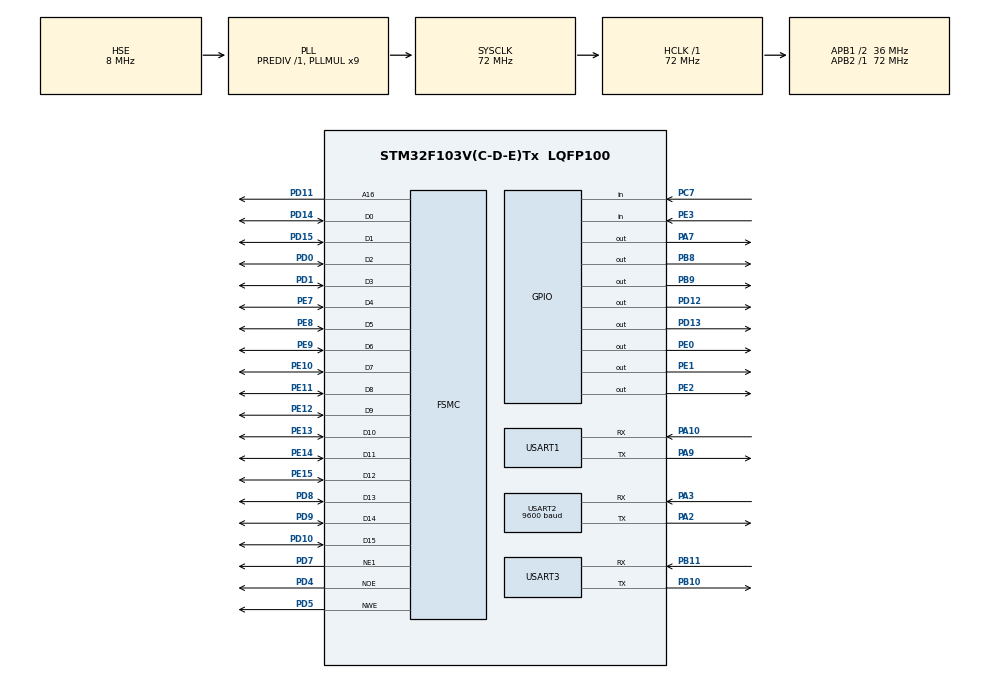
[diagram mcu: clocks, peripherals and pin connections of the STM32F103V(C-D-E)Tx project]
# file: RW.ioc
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Dma.Request0=USART3_RX
Dma.USART3_RX.0.Direction=DMA_PERIPH_TO_MEMORY
Dma.USART3_RX.0.Instance=DMA1_Channel3
Dma.USART3_RX.0.MemDataAlignment=DMA_MDATAALIGN_BYTE
Dma.USART3_RX.0.MemInc=DMA_MINC_ENABLE
Dma.USART3_RX.0.Mode=DMA_NORMAL
Dma.USART3_RX.0.PeriphDataAlignment=DMA_PDATAALIGN_BYTE
Dma.USART3_RX.0.PeriphInc=DMA_PINC_DISABLE
Dma.USART3_RX.0.Priority=DMA_PRIORITY_LOW
Mcu.Family=STM32F1
Mcu.Name=STM32F103V(C-D-E)Tx
Mcu.Package=LQFP100
NVIC.DMA1_Channel3_IRQn=true\:0\:0\:false\:false\:true\:false\:true\:true
NVIC.PriorityGroup=NVIC_PRIORITYGROUP_4
NVIC.USART1_IRQn=true\:2\:0\:true\:false\:true\:true\:true\:true
NVIC.USART3_IRQn=true\:2\:0\:true\:false\:true\:true\:true\:true
OSC_IN.Mode=HSE-External-Oscillator
OSC_IN.Signal=RCC_OSC_IN
OSC_OUT.Mode=HSE-External-Oscillator
OSC_OUT.Signal=RCC_OSC_OUT
PA10.Mode=Asynchronous
PA10.Signal=USART1_RX
PA13.Mode=Serial_Wire
PA13.Signal=SYS_JTMS-SWDIO
PA14.Mode=Serial_Wire
PA14.Signal=SYS_JTCK-SWCLK
PA2.Mode=Asynchronous
PA2.Signal=USART2_TX
PA3.Mode=Asynchronous
PA3.Signal=USART2_RX
PA7.GPIO_Speed=GPIO_SPEED_FREQ_HIGH
PA7.Signal=GPIO_Output
PA9.Mode=Asynchronous
PA9.Signal=USART1_TX
PB10.Mode=Asynchronous
PB10.Signal=USART3_TX
PB11.Mode=Asynchronous
PB11.Signal=USART3_RX
PB8.GPIO_Speed=GPIO_SPEED_FREQ_HIGH
PB8.Signal=GPIO_Output
PB9.GPIO_Speed=GPIO_SPEED_FREQ_HIGH
PB9.Signal=GPIO_Output
PC14-OSC32_IN.Mode=LSE-External-Oscillator
PC14-OSC32_IN.Signal=RCC_OSC32_IN
PC15-OSC32_OUT.Mode=LSE-External-Oscillator
PC15-OSC32_OUT.Signal=RCC_OSC32_OUT
PC7.Signal=GPIO_Input
PD0.Mode=16b-d1
PD0.Signal=FSMC_D2
PD1.Mode=16b-d1
PD1.Signal=FSMC_D3
PD10.Mode=16b-d1
PD10.Signal=FSMC_D15
PD11.Mode=A16_1
PD11.Signal=FSMC_A16
PD12.GPIO_Speed=GPIO_SPEED_FREQ_HIGH
PD12.Signal=GPIO_Output
PD13.GPIO_Speed=GPIO_SPEED_FREQ_HIGH
PD13.Signal=GPIO_Output
PD14.Mode=16b-d1
PD14.Signal=FSMC_D0
PD15.Mode=16b-d1
PD15.Signal=FSMC_D1
PD4.Mode=Lcd1
PD4.Signal=FSMC_NOE
PD5.Mode=Lcd1
PD5.Signal=FSMC_NWE
PD7.Mode=NorPsramChipSelect1_1
PD7.Signal=FSMC_NE1
PD8.Mode=16b-d1
PD8.Signal=FSMC_D13
PD9.Mode=16b-d1
PD9.Signal=FSMC_D14
PE0.GPIO_Speed=GPIO_SPEED_FREQ_HIGH
PE0.Signal=GPIO_Output
PE1.GPIO_Speed=GPIO_SPEED_FREQ_HIGH
PE1.Signal=GPIO_Output
PE10.Mode=16b-d1
PE10.Signal=FSMC_D7
PE11.Mode=16b-d1
PE11.Signal=FSMC_D8
PE12.Mode=16b-d1
PE12.Signal=FSMC_D9
PE13.Mode=16b-d1
PE13.Signal=FSMC_D10
PE14.Mode=16b-d1
PE14.Signal=FSMC_D11
PE15.Mode=16b-d1
PE15.Signal=FSMC_D12
PE2.GPIO_Speed=GPIO_SPEED_FREQ_HIGH
PE2.Signal=GPIO_Output
PE3.Signal=GPIO_Input
PE7.Mode=16b-d1
PE7.Signal=FSMC_D4
PE8.Mode=16b-d1
PE8.Signal=FSMC_D5
PE9.Mode=16b-d1
PE9.Signal=FSMC_D6
ProjectManager.HeapSize=0x1000
ProjectManager.StackSize=0x2000
ProjectManager.TargetToolchain=CMake
RCC.AHBFreq_Value=72000000
RCC.APB1CLKDivider=RCC_HCLK_DIV2
RCC.APB1Freq_Value=36000000
RCC.APB1TimFreq_Value=72000000
RCC.APB2Freq_Value=72000000
RCC.APB2TimFreq_Value=72000000
RCC.HCLKFreq_Value=72000000
RCC.PLLMUL=RCC_PLL_MUL9
RCC.PLLSourceVirtual=RCC_PLLSOURCE_HSE
RCC.RTCClockSelection=RCC_RTCCLKSOURCE_LSE
RCC.SYSCLKFreq_VALUE=72000000
RCC.SYSCLKSource=RCC_SYSCLKSOURCE_PLLCLK
RCC.USBFreq_Value=72000000
TIM1.Prescaler=71
USART1.VirtualMode=VM_ASYNC
USART2.BaudRate=9600
USART2.VirtualMode=VM_ASYNC
USART3.VirtualMode=VM_ASYNC
VP_RTC_VS_RTC_Activate.Mode=RTC_Enabled
VP_TIM1_VS_ClockSourceINT.Mode=Internal
board=custom

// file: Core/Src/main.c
/* USER CODE BEGIN Header */
/**
  ******************************************************************************
  * @file           : main.c
  * @brief          : Main program body
  ******************************************************************************
  * @attention
  *
  * Copyright (c) 2026 STMicroelectronics.
  * All rights reserved.
  *
  * This software is licensed under terms that can be found in the LICENSE file
  * in the root directory of this software component.
  * If no LICENSE file comes with this software, it is provided AS-IS.
  *
  ******************************************************************************
  */
/* USER CODE END Header */
#include "main.h"

/* USER CODE BEGIN Includes */
#include <stdio.h>
#include "lcd.h"
#include "lvgl.h"
#include "lv_port_disp.h"
#include "lv_port_indev.h"
#include "dht11.h"
#include "gui_guider.h"
#include "events_init.h"
#include "dfplayer_music.h"
#include "weather_manager.h"
#include "rtc_manager.h"

/* USER CODE END Includes */

 RTC_HandleTypeDef hrtc;

TIM_HandleTypeDef htim1;

UART_HandleTypeDef huart1;
UART_HandleTypeDef huart2;
UART_HandleTypeDef huart3;
DMA_HandleTypeDef hdma_usart3_rx;

SRAM_HandleTypeDef hsram1;

/* USER CODE BEGIN PV */
lv_ui guider_ui;

lv_chart_series_t * temp_series;
lv_chart_series_t * humi_series;

// Sensor data structure
DHT11_Data my_sensor_data;
uint32_t sensor_timer = 0;
/* USER CODE END PV */

void SystemClock_Config(void);
static void MX_GPIO_Init(void);
static void MX_DMA_Init(void);
static void MX_FSMC_Init(void);
static void MX_TIM1_Init(void);
static void MX_RTC_Init(void);
static void MX_USART2_UART_Init(void);
static void MX_USART1_UART_Init(void);
static void MX_USART3_UART_Init(void);

int main(void)
{

  /* MCU Configuration--------------------------------------------------------*/

  /* Reset of all peripherals, Initializes the Flash interface and the Systick. */
  HAL_Init();

  /* Configure the system clock */
  SystemClock_Config();

  /* Initialize all configured peripherals */
  MX_GPIO_Init();
  MX_DMA_Init();
  MX_FSMC_Init();
  MX_TIM1_Init();
  MX_RTC_Init();
  MX_USART2_UART_Init();
  MX_USART1_UART_Init();
  MX_USART3_UART_Init();
  /* USER CODE BEGIN 2 */
  LCD_INIT();
  HAL_TIM_Base_Start(&htim1);

  /* Initialize LVGL */
  DFPlayer_Init();
  lv_init();
  lv_port_disp_init();
  lv_port_indev_init();

  setup_ui(&guider_ui);
  events_init(&guider_ui);

  // Initialize weather manager with WiFi credentials
  Weather_Manager_SetCredentials("Simon", "88888888");
  Weather_Manager_SetLocation("Hong+Kong");

  /* USER CODE END 2 */

  /* Infinite loop */
  while (1)
  {

    /* USER CODE BEGIN 3 */

	  static uint32_t timer = 0;
	  if (HAL_GetTick() - timer >= 1000) {
		  RTC_Manager_Task(&guider_ui);
		  timer = HAL_GetTick();
	  }

    // Call weather manager task (non-blocking, only triggers on request)
    Weather_Manager_Task(&guider_ui);

	  if (HAL_GetTick() - sensor_timer >= 2000)
		{
			sensor_timer = HAL_GetTick();

			if (lv_scr_act() == guider_ui.dht11_screen &&
			    guider_ui.dht11_screen_temp_chart && lv_obj_is_valid(guider_ui.dht11_screen_temp_chart) &&
			    guider_ui.dht11_screen_humi_chart && lv_obj_is_valid(guider_ui.dht11_screen_humi_chart))
			{
				// 2. Refresh the series pointers.
				// If the screen was deleted/recreated, we must re-add the series.
				temp_series = lv_chart_get_series_next(guider_ui.dht11_screen_temp_chart, NULL);
				humi_series = lv_chart_get_series_next(guider_ui.dht11_screen_humi_chart, NULL);

				// 3. If the chart has no series (because it was just recreated), add them back
				if (temp_series == NULL) {
					temp_series = lv_chart_add_series(guider_ui.dht11_screen_temp_chart, lv_palette_main(LV_PALETTE_RED), LV_CHART_AXIS_PRIMARY_Y);
				}
				if (humi_series == NULL) {
					humi_series = lv_chart_add_series(guider_ui.dht11_screen_humi_chart, lv_palette_main(LV_PALETTE_BLUE), LV_CHART_AXIS_PRIMARY_Y);
				}

				// 4. Now read the sensor and update
				if (DHT11_Read(&my_sensor_data))
				{
					lv_chart_set_point_count(guider_ui.dht11_screen_temp_chart, 10);
					lv_chart_set_point_count(guider_ui.dht11_screen_humi_chart, 10);
					char buf[16];
					sprintf(buf, "%d.%d C", my_sensor_data.temperature_integral, my_sensor_data.temperature_decimal);
					if (guider_ui.dht11_screen_temp_num && lv_obj_is_valid(guider_ui.dht11_screen_temp_num)) {
						lv_label_set_text(guider_ui.dht11_screen_temp_num, buf);
					}
					if (temp_series) {
						lv_chart_set_next_value(guider_ui.dht11_screen_temp_chart, temp_series, my_sensor_data.temperature_integral);
					}
					sprintf(buf, "%d.%d %%", my_sensor_data.humidity_integral, my_sensor_data.humidity_decimal);
					if (guider_ui.dht11_screen_humi_num && lv_obj_is_valid(guider_ui.dht11_screen_humi_num)) {
						lv_label_set_text(guider_ui.dht11_screen_humi_num, buf);
					}
					if (humi_series) {
						lv_chart_set_next_value(guider_ui.dht11_screen_humi_chart, humi_series, my_sensor_data.humidity_integral);
					}
				}else{
					if (guider_ui.dht11_screen_temp_num && lv_obj_is_valid(guider_ui.dht11_screen_temp_num)) {
						lv_label_set_text(guider_ui.dht11_screen_temp_num, "connecting");
					}
					if (guider_ui.dht11_screen_humi_num && lv_obj_is_valid(guider_ui.dht11_screen_humi_num)) {
						lv_label_set_text(guider_ui.dht11_screen_humi_num, "connecting");
					}
				}
				uint32_t seconds = HAL_GetTick() / 1000;
				if (guider_ui.dht11_screen_Timer && lv_obj_is_valid(guider_ui.dht11_screen_Timer)) {
					lv_label_set_text_fmt(guider_ui.dht11_screen_Timer, "Last Update: %ds ago", seconds);
				}
			}
		}

    DFPlayer_Manager_Task(&guider_ui);

	  lv_tick_inc(5);
	  lv_timer_handler();
	  HAL_Delay(5);

  }
  /* USER CODE END 3 */
}

void SystemClock_Config(void)
{
  RCC_OscInitTypeDef RCC_OscInitStruct = {0};
  RCC_ClkInitTypeDef RCC_ClkInitStruct = {0};
  RCC_PeriphCLKInitTypeDef PeriphClkInit = {0};

  /** Initializes the RCC Oscillators according to the specified parameters
  * in the RCC_OscInitTypeDef structure.
  */
  RCC_OscInitStruct.OscillatorType = RCC_OSCILLATORTYPE_HSE|RCC_OSCILLATORTYPE_LSE;
  RCC_OscInitStruct.HSEState = RCC_HSE_ON;
  RCC_OscInitStruct.HSEPredivValue = RCC_HSE_PREDIV_DIV1;
  RCC_OscInitStruct.LSEState = RCC_LSE_ON;
  RCC_OscInitStruct.HSIState = RCC_HSI_ON;
  RCC_OscInitStruct.PLL.PLLState = RCC_PLL_ON;
  RCC_OscInitStruct.PLL.PLLSource = RCC_PLLSOURCE_HSE;
  RCC_OscInitStruct.PLL.PLLMUL = RCC_PLL_MUL9;
  if (HAL_RCC_OscConfig(&RCC_OscInitStruct) != HAL_OK)
  {
    Error_Handler();
  }

  /** Initializes the CPU, AHB and APB buses clocks
  */
  RCC_ClkInitStruct.ClockType = RCC_CLOCKTYPE_HCLK|RCC_CLOCKTYPE_SYSCLK
                              |RCC_CLOCKTYPE_PCLK1|RCC_CLOCKTYPE_PCLK2;
  RCC_ClkInitStruct.SYSCLKSource = RCC_SYSCLKSOURCE_PLLCLK;
  RCC_ClkInitStruct.AHBCLKDivider = RCC_SYSCLK_DIV1;
  RCC_ClkInitStruct.APB1CLKDivider = RCC_HCLK_DIV2;
  RCC_ClkInitStruct.APB2CLKDivider = RCC_HCLK_DIV1;

  if (HAL_RCC_ClockConfig(&RCC_ClkInitStruct, FLASH_LATENCY_2) != HAL_OK)
  {
    Error_Handler();
  }
  PeriphClkInit.PeriphClockSelection = RCC_PERIPHCLK_RTC;
  PeriphClkInit.RTCClockSelection = RCC_RTCCLKSOURCE_LSE;
  if (HAL_RCCEx_PeriphCLKConfig(&PeriphClkInit) != HAL_OK)
  {
    Error_Handler();
  }
}

static void MX_RTC_Init(void)
{

  /* USER CODE BEGIN RTC_Init 0 */
  hrtc.Instance = RTC;
  hrtc.Init.AsynchPrediv = RTC_AUTO_1_SECOND;
  hrtc.Init.OutPut = RTC_OUTPUTSOURCE_ALARM;
  RW_RTC_Init();
  return;
  /* USER CODE END RTC_Init 0 */

  /** Initialize RTC Only
  */
  hrtc.Instance = RTC;
  hrtc.Init.AsynchPrediv = RTC_AUTO_1_SECOND;
  hrtc.Init.OutPut = RTC_OUTPUTSOURCE_ALARM;
  if (HAL_RTC_Init(&hrtc) != HAL_OK)
  {
    Error_Handler();
  }

}

static void MX_TIM1_Init(void)
{

  TIM_ClockConfigTypeDef sClockSourceConfig = {0};
  TIM_MasterConfigTypeDef sMasterConfig = {0};

  htim1.Instance = TIM1;
  htim1.Init.Prescaler = 71;
  htim1.Init.CounterMode = TIM_COUNTERMODE_UP;
  htim1.Init.Period = 65535;
  htim1.Init.ClockDivision = TIM_CLOCKDIVISION_DIV1;
  htim1.Init.RepetitionCounter = 0;
  htim1.Init.AutoReloadPreload = TIM_AUTORELOAD_PRELOAD_DISABLE;
  if (HAL_TIM_Base_Init(&htim1) != HAL_OK)
  {
    Error_Handler();
  }
  sClockSourceConfig.ClockSource = TIM_CLOCKSOURCE_INTERNAL;
  if (HAL_TIM_ConfigClockSource(&htim1, &sClockSourceConfig) != HAL_OK)
  {
    Error_Handler();
  }
  sMasterConfig.MasterOutputTrigger = TIM_TRGO_RESET;
  sMasterConfig.MasterSlaveMode = TIM_MASTERSLAVEMODE_DISABLE;
  if (HAL_TIMEx_MasterConfigSynchronization(&htim1, &sMasterConfig) != HAL_OK)
  {
    Error_Handler();
  }

}

static void MX_USART1_UART_Init(void)
{

  huart1.Instance = USART1;
  huart1.Init.BaudRate = 115200;
  huart1.Init.WordLength = UART_WORDLENGTH_8B;
  huart1.Init.StopBits = UART_STOPBITS_1;
  huart1.Init.Parity = UART_PARITY_NONE;
  huart1.Init.Mode = UART_MODE_TX_RX;
  huart1.Init.HwFlowCtl = UART_HWCONTROL_NONE;
  huart1.Init.OverSampling = UART_OVERSAMPLING_16;
  if (HAL_UART_Init(&huart1) != HAL_OK)
  {
    Error_Handler();
  }

}

static void MX_USART2_UART_Init(void)
{

  huart2.Instance = USART2;
  huart2.Init.BaudRate = 9600;
  huart2.Init.WordLength = UART_WORDLENGTH_8B;
  huart2.Init.StopBits = UART_STOPBITS_1;
  huart2.Init.Parity = UART_PARITY_NONE;
  huart2.Init.Mode = UART_MODE_TX_RX;
  huart2.Init.HwFlowCtl = UART_HWCONTROL_NONE;
  huart2.Init.OverSampling = UART_OVERSAMPLING_16;
  if (HAL_UART_Init(&huart2) != HAL_OK)
  {
    Error_Handler();
  }

}

static void MX_USART3_UART_Init(void)
{

  huart3.Instance = USART3;
  huart3.Init.BaudRate = 115200;
  huart3.Init.WordLength = UART_WORDLENGTH_8B;
  huart3.Init.StopBits = UART_STOPBITS_1;
  huart3.Init.Parity = UART_PARITY_NONE;
  huart3.Init.Mode = UART_MODE_TX_RX;
  huart3.Init.HwFlowCtl = UART_HWCONTROL_NONE;
  huart3.Init.OverSampling = UART_OVERSAMPLING_16;
  if (HAL_UART_Init(&huart3) != HAL_OK)
  {
    Error_Handler();
  }

}

static void MX_DMA_Init(void)
{

  /* DMA controller clock enable */
  __HAL_RCC_DMA1_CLK_ENABLE();

  /* DMA interrupt init */
  /* DMA1_Channel3_IRQn interrupt configuration */
  HAL_NVIC_SetPriority(DMA1_Channel3_IRQn, 0, 0);
  HAL_NVIC_EnableIRQ(DMA1_Channel3_IRQn);

}

static void MX_GPIO_Init(void)
{
  GPIO_InitTypeDef GPIO_InitStruct = {0};

  /* GPIO Ports Clock Enable */
  __HAL_RCC_GPIOE_CLK_ENABLE();
  __HAL_RCC_GPIOC_CLK_ENABLE();
  __HAL_RCC_GPIOA_CLK_ENABLE();
  __HAL_RCC_GPIOB_CLK_ENABLE();
  __HAL_RCC_GPIOD_CLK_ENABLE();

  /*Configure GPIO pin Output Level */
  HAL_GPIO_WritePin(GPIOE, GPIO_PIN_2|GPIO_PIN_0|GPIO_PIN_1, GPIO_PIN_RESET);

  /*Configure GPIO pin Output Level */
  HAL_GPIO_WritePin(GPIOA, GPIO_PIN_7, GPIO_PIN_RESET);

  /*Configure GPIO pin Output Level */
  HAL_GPIO_WritePin(GPIOD, GPIO_PIN_12|GPIO_PIN_13, GPIO_PIN_RESET);

  /*Configure GPIO pin Output Level */
  HAL_GPIO_WritePin(GPIOB, GPIO_PIN_8|GPIO_PIN_9, GPIO_PIN_RESET);

  /*Configure GPIO pins : PE2 PE0 PE1 */
  GPIO_InitStruct.Pin = GPIO_PIN_2|GPIO_PIN_0|GPIO_PIN_1;
  GPIO_InitStruct.Mode = GPIO_MODE_OUTPUT_PP;
  GPIO_InitStruct.Pull = GPIO_NOPULL;
  GPIO_InitStruct.Speed = GPIO_SPEED_FREQ_HIGH;
  HAL_GPIO_Init(GPIOE, &GPIO_InitStruct);

  /*Configure GPIO pin : PE3 */
  GPIO_InitStruct.Pin = GPIO_PIN_3;
  GPIO_InitStruct.Mode = GPIO_MODE_INPUT;
  GPIO_InitStruct.Pull = GPIO_NOPULL;
  HAL_GPIO_Init(GPIOE, &GPIO_InitStruct);

  /*Configure GPIO pin : PA7 */
  GPIO_InitStruct.Pin = GPIO_PIN_7;
  GPIO_InitStruct.Mode = GPIO_MODE_OUTPUT_PP;
  GPIO_InitStruct.Pull = GPIO_NOPULL;
  GPIO_InitStruct.Speed = GPIO_SPEED_FREQ_HIGH;
  HAL_GPIO_Init(GPIOA, &GPIO_InitStruct);

  /*Configure GPIO pins : PD12 PD13 */
  GPIO_InitStruct.Pin = GPIO_PIN_12|GPIO_PIN_13;
  GPIO_InitStruct.Mode = GPIO_MODE_OUTPUT_PP;
  GPIO_InitStruct.Pull = GPIO_NOPULL;
  GPIO_InitStruct.Speed = GPIO_SPEED_FREQ_HIGH;
  HAL_GPIO_Init(GPIOD, &GPIO_InitStruct);

  /*Configure GPIO pin : PC7 */
  GPIO_InitStruct.Pin = GPIO_PIN_7;
  GPIO_InitStruct.Mode = GPIO_MODE_INPUT;
  GPIO_InitStruct.Pull = GPIO_NOPULL;
  HAL_GPIO_Init(GPIOC, &GPIO_InitStruct);

  /*Configure GPIO pins : PB8 PB9 */
  GPIO_InitStruct.Pin = GPIO_PIN_8|GPIO_PIN_9;
  GPIO_InitStruct.Mode = GPIO_MODE_OUTPUT_PP;
  GPIO_InitStruct.Pull = GPIO_NOPULL;
  GPIO_InitStruct.Speed = GPIO_SPEED_FREQ_HIGH;
  HAL_GPIO_Init(GPIOB, &GPIO_InitStruct);

}

/* FSMC initialization function */
static void MX_FSMC_Init(void)
{

  FSMC_NORSRAM_TimingTypeDef Timing = {0};

  /** Perform the SRAM1 memory initialization sequence
  */
  hsram1.Instance = FSMC_NORSRAM_DEVICE;
  hsram1.Extended = FSMC_NORSRAM_EXTENDED_DEVICE;
  /* hsram1.Init */
  hsram1.Init.NSBank = FSMC_NORSRAM_BANK1;
  hsram1.Init.DataAddressMux = FSMC_DATA_ADDRESS_MUX_DISABLE;
  hsram1.Init.MemoryType = FSMC_MEMORY_TYPE_SRAM;
  hsram1.Init.MemoryDataWidth = FSMC_NORSRAM_MEM_BUS_WIDTH_16;
  hsram1.Init.BurstAccessMode = FSMC_BURST_ACCESS_MODE_DISABLE;
  hsram1.Init.WaitSignalPolarity = FSMC_WAIT_SIGNAL_POLARITY_LOW;
  hsram1.Init.WrapMode = FSMC_WRAP_MODE_DISABLE;
  hsram1.Init.WaitSignalActive = FSMC_WAIT_TIMING_BEFORE_WS;
  hsram1.Init.WriteOperation = FSMC_WRITE_OPERATION_ENABLE;
  hsram1.Init.WaitSignal = FSMC_WAIT_SIGNAL_DISABLE;
  hsram1.Init.ExtendedMode = FSMC_EXTENDED_MODE_DISABLE;
  hsram1.Init.AsynchronousWait = FSMC_ASYNCHRONOUS_WAIT_DISABLE;
  hsram1.Init.WriteBurst = FSMC_WRITE_BURST_DISABLE;
  /* Timing */
  Timing.AddressSetupTime = 15;
  Timing.AddressHoldTime = 15;
  Timing.DataSetupTime = 255;
  Timing.BusTurnAroundDuration = 15;
  Timing.CLKDivision = 16;
  Timing.DataLatency = 17;
  Timing.AccessMode = FSMC_ACCESS_MODE_A;
  /* ExtTiming */

  if (HAL_SRAM_Init(&hsram1, &Timing, NULL) != HAL_OK)
  {
    Error_Handler( );
  }

  /** Disconnect NADV
  */

  __HAL_AFIO_FSMCNADV_DISCONNECTED();

}

void Error_Handler(void)
{
  __disable_irq();
  while (1)
  {
  }
}
